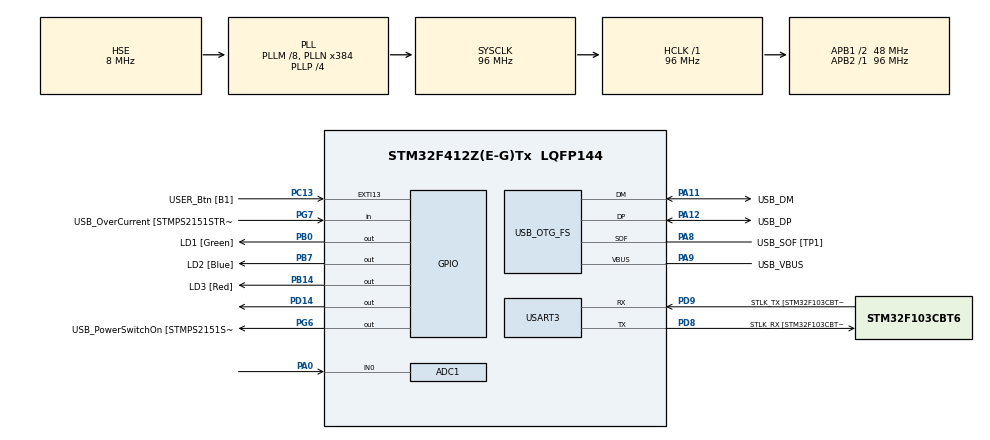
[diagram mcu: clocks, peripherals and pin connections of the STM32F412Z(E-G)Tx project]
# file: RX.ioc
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ADC1.Channel-0\#ChannelRegularConversion=ADC_CHANNEL_0
ADC1.ContinuousConvMode=DISABLE
ADC1.DMAContinuousRequests=ENABLE
ADC1.ExternalTrigConv=ADC_EXTERNALTRIGCONV_T3_TRGO
ADC1.NbrOfConversionFlag=1
ADC1.Rank-0\#ChannelRegularConversion=1
ADC1.SamplingTime-0\#ChannelRegularConversion=ADC_SAMPLETIME_3CYCLES
ADC1.master=1
Dma.ADC1.0.Direction=DMA_PERIPH_TO_MEMORY
Dma.ADC1.0.FIFOMode=DMA_FIFOMODE_DISABLE
Dma.ADC1.0.Instance=DMA2_Stream0
Dma.ADC1.0.MemDataAlignment=DMA_MDATAALIGN_HALFWORD
Dma.ADC1.0.MemInc=DMA_MINC_ENABLE
Dma.ADC1.0.Mode=DMA_CIRCULAR
Dma.ADC1.0.PeriphDataAlignment=DMA_PDATAALIGN_HALFWORD
Dma.ADC1.0.PeriphInc=DMA_PINC_DISABLE
Dma.ADC1.0.Priority=DMA_PRIORITY_LOW
Dma.Request0=ADC1
Mcu.Family=STM32F4
Mcu.Name=STM32F412Z(E-G)Tx
Mcu.Package=LQFP144
NVIC.DMA2_Stream0_IRQn=true\:0\:0\:false\:false\:true\:false\:true\:true
NVIC.PriorityGroup=NVIC_PRIORITYGROUP_4
PA0.Signal=ADCx_IN0
PA10.GPIO_Label=USB_ID
PA10.Signal=USB_OTG_FS_ID
PA11.GPIO_Label=USB_DM
PA11.Mode=Device_Only
PA11.Signal=USB_OTG_FS_DM
PA12.GPIO_Label=USB_DP
PA12.Mode=Device_Only
PA12.Signal=USB_OTG_FS_DP
PA13.GPIO_Label=TMS
PA13.Mode=Serial_Wire
PA13.Signal=SYS_JTMS-SWDIO
PA14.GPIO_Label=TCK
PA14.Mode=Serial_Wire
PA14.Signal=SYS_JTCK-SWCLK
PA8.GPIO_Label=USB_SOF [TP1]
PA8.Mode=Activate_SOF_FS
PA8.Signal=USB_OTG_FS_SOF
PA9.GPIO_Label=USB_VBUS
PA9.Mode=Activate_VBUS
PA9.Signal=USB_OTG_FS_VBUS
PB0.GPIO_Label=LD1 [Green]
PB0.Signal=GPIO_Output
PB14.GPIO_Label=LD3 [Red]
PB14.Signal=GPIO_Output
PB3.GPIO_Label=SWO
PB3.Signal=SYS_JTDO-SWO
PB7.GPIO_Label=LD2 [Blue]
PB7.Signal=GPIO_Output
PC13.GPIO_Label=USER_Btn [B1]
PC13.Signal=GPXTI13
PC14-OSC32_IN.Mode=LSE-External-Oscillator
PC14-OSC32_IN.Signal=RCC_OSC32_IN
PC15-OSC32_OUT.Mode=LSE-External-Oscillator
PC15-OSC32_OUT.Signal=RCC_OSC32_OUT
PD14.Signal=GPIO_Output
PD8.GPIO_Label=STLK_RX [STM32F103CBT6_PA3]
PD8.Mode=Asynchronous
PD8.Signal=USART3_TX
PD9.GPIO_Label=STLK_TX [STM32F103CBT6_PA2]
PD9.Mode=Asynchronous
PD9.Signal=USART3_RX
PG6.GPIO_Label=USB_PowerSwitchOn [STMPS2151STR_EN]
PG6.Signal=GPIO_Output
PG7.GPIO_Label=USB_OverCurrent [STMPS2151STR_FAULT]
PG7.Signal=GPIO_Input
PH0\ -\ OSC_IN.GPIO_Label=MCO
PH0\ -\ OSC_IN.Mode=HSE-External-Clock-Source
PH0\ -\ OSC_IN.Signal=RCC_OSC_IN
PH1\ -\ OSC_OUT.Mode=HSE-External-Clock-Source
PH1\ -\ OSC_OUT.Signal=RCC_OSC_OUT
ProjectManager.HeapSize=0x200
ProjectManager.StackSize=0x400
ProjectManager.TargetToolchain=CMake
RCC.48MHZClocksFreq_Value=24000000
RCC.AHBFreq_Value=96000000
RCC.APB1CLKDivider=RCC_HCLK_DIV2
RCC.APB1Freq_Value=48000000
RCC.APB1TimFreq_Value=96000000
RCC.APB2Freq_Value=96000000
RCC.APB2TimFreq_Value=96000000
RCC.CortexFreq_Value=96000000
RCC.HCLKFreq_Value=96000000
RCC.HSE_VALUE=8000000
RCC.HSI_VALUE=16000000
RCC.PLLM=8
RCC.PLLMUL=RCC_PLL_MUL9
RCC.PLLN=384
RCC.PLLP=RCC_PLLP_DIV4
RCC.PLLQ=8
RCC.PRESCALERUSB=RCC_USBCLKSOURCE_PLL_DIV1_5
RCC.SYSCLKFreq_VALUE=96000000
RCC.SYSCLKSource=RCC_SYSCLKSOURCE_PLLCLK
RCC.SYSCLKSourceVirtual=RCC_SYSCLKSOURCE_PLLCLK
RCC.USBFreq_Value=48000000
RCC.VCOOutputFreq_Value=384000000
SH.ADCx_IN0.0=ADC1_IN0,IN0
TIM3.Period=7499
TIM3.TIM_MasterOutputTrigger=TIM_TRGO_UPDATE
USART3.VirtualMode=VM_ASYNC
USB_OTG_FS.VirtualMode=Device_Only
VP_TIM3_VS_ClockSourceINT.Mode=Internal
board=NUCLEO-F412ZG

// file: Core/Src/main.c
/* USER CODE BEGIN Header */
/**
  ******************************************************************************
  * @file           : main.c
  * @brief          : Main program body
  ******************************************************************************
  * @attention
  *
  * Copyright (c) 2026 STMicroelectronics.
  * All rights reserved.
  *
  * This software is licensed under terms that can be found in the LICENSE file
  * in the root directory of this software component.
  * If no LICENSE file comes with this software, it is provided AS-IS.
  *
  ******************************************************************************
  */
/* USER CODE END Header */
#include "main.h"

/* USER CODE BEGIN Includes */
#include <stdio.h>
#include <string.h>
#include "lifi_hw.h"
#include "lifi_dsp.h"
#include "lifi_dpll.h"
#include "lifi_mac.h"
#include "lifi_diag.h"
/* USER CODE END Includes */

ADC_HandleTypeDef hadc1;
DMA_HandleTypeDef hdma_adc1;

TIM_HandleTypeDef htim3;

UART_HandleTypeDef huart3;

PCD_HandleTypeDef hpcd_USB_OTG_FS;

void SystemClock_Config(void);
static void MX_GPIO_Init(void);
static void MX_DMA_Init(void);
static void MX_ADC1_Init(void);
static void MX_TIM3_Init(void);
static void MX_USART3_UART_Init(void);
static void MX_USB_OTG_FS_PCD_Init(void);

int main(void)
{
  /* MCU Configuration--------------------------------------------------------*/

  /* Reset of all peripherals, Initializes the Flash interface and the Systick. */
  HAL_Init();

  /* Configure the system clock */
  SystemClock_Config();

  /* Initialize all configured peripherals */
  MX_GPIO_Init();
  MX_DMA_Init();
  MX_ADC1_Init();
  MX_TIM3_Init();
  MX_USART3_UART_Init();
  MX_USB_OTG_FS_PCD_Init();

  /* USER CODE BEGIN 2 */
  extern UART_HandleTypeDef huart3;

  // 1. INITIALIZE ALL LIFI LAYERS (THIS WAS MISSING!)
  LiFi_DSP_Init();
  LiFi_DPLL_Init();
  LiFi_MAC_Init();
  LiFi_HW_Init(); // This turns on the ADC and Timer!

  HAL_UART_Transmit(&huart3, (uint8_t*)"\r\n[RX BOOT] LiFi modem online. Listening for framed packets...\r\n", 67, 100);
  /* USER CODE END 2 */

  /* Infinite loop */
  /* USER CODE BEGIN WHILE */

  uint32_t lastRxTick = 0;
  uint32_t burstBytes = 0;
  float sumAmp = 0.0f;
  float sumPhase = 0.0f;
  uint32_t packetCount = 0;
  uint8_t receivingMessage = 0; // Tracks if a sentence is currently in progress

  const LIFI_DIAG* diag = LiFi_Diag_Get();

  while (1)
  {
      // 1. IF A CHUNK ARRIVES: Print it on the SAME line and record the physics
      if (macPayloadReady == 1) {
          char statusLine[128];
          snprintf(statusLine, sizeof(statusLine), "\r\n[RX STAT] lock=%u sync=%u seq=%u ok=%lu fail=%lu dup=%lu ooo=%lu amp=%d noise=%d phase=%.1f crc=%lu inv=%lu len=%lu\r\n",
                   diag->lastLockState,
                   macSyncFound,
                   macPacketSequence,
                   (unsigned long)diag->packetsGood,
                   (unsigned long)diag->packetsBad,
                   (unsigned long)diag->duplicatePackets,
                   (unsigned long)diag->outOfOrderPackets,
                   (int)diag->lastAmplitude,
                   (int)diag->lastNoise,
                   diag->lastPhaseError,
                   (unsigned long)diag->crcErrors,
                   (unsigned long)diag->invalidTransitionCount,
                   (unsigned long)diag->lastPacketLength);
          HAL_UART_Transmit(&huart3, (uint8_t*)statusLine, strlen(statusLine), 100);
          HAL_UART_Transmit(&huart3, (uint8_t*)macPayloadBuffer, macExpectedLength, 100);

          burstBytes += macExpectedLength;
          sumAmp += signalAmplitude;

          // Use absolute value for phase drift so negative drift doesn't cancel positive drift
          if (pllPhaseError < 0) sumPhase -= pllPhaseError;
          else sumPhase += pllPhaseError;

          packetCount++;

          lastRxTick = HAL_GetTick(); // Reset the silence timer
          receivingMessage = 1;       // Flag that we are in the middle of a sentence
          macPayloadReady = 0;
      }

      // 2. IF 2.5 SECONDS PASS WITH NO NEW DATA: Print the Telemetry Summary
      if (receivingMessage == 1 && (HAL_GetTick() - lastRxTick > 2500)) {

          char rxDash[256];

          // Notice we use %d (Integer) and cast the floats (int) to bypass the STM32 Bug!
          sprintf(rxDash,
              "\r\n-------------------------------------------------\r\n"
              "[LINK METRICS] Payload: %lu Bytes | Avg Amp: %d | Avg Phase Drift: %d | Ok: %lu | Fail: %lu | Lock Events: %lu\r\n"
              "-------------------------------------------------\r\n> ",
              burstBytes,
              (int)(sumAmp / packetCount),
              (int)(sumPhase / packetCount),
              (unsigned long)diag->packetsGood,
              (unsigned long)diag->packetsBad,
              (unsigned long)diag->pllLockEvents
          );

          HAL_UART_Transmit(&huart3, (uint8_t*)rxDash, strlen(rxDash), 100);

          // Reset the trackers for the next sentence
          burstBytes = 0;
          sumAmp = 0.0f;
          sumPhase = 0.0f;
          packetCount = 0;
          receivingMessage = 0;
      }

      HAL_Delay(2);
    /* USER CODE END WHILE */
  }

}

void SystemClock_Config(void)
{
  RCC_OscInitTypeDef RCC_OscInitStruct = {0};
  RCC_ClkInitTypeDef RCC_ClkInitStruct = {0};

  /** Configure the main internal regulator output voltage
  */
  __HAL_RCC_PWR_CLK_ENABLE();
  __HAL_PWR_VOLTAGESCALING_CONFIG(PWR_REGULATOR_VOLTAGE_SCALE1);

  /** Initializes the RCC Oscillators according to the specified parameters
  * in the RCC_OscInitTypeDef structure.
  */
  RCC_OscInitStruct.OscillatorType = RCC_OSCILLATORTYPE_HSE;
  RCC_OscInitStruct.HSEState = RCC_HSE_BYPASS;
  RCC_OscInitStruct.PLL.PLLState = RCC_PLL_ON;
  RCC_OscInitStruct.PLL.PLLSource = RCC_PLLSOURCE_HSE;
  RCC_OscInitStruct.PLL.PLLM = 8;
  RCC_OscInitStruct.PLL.PLLN = 384;
  RCC_OscInitStruct.PLL.PLLP = RCC_PLLP_DIV4;
  RCC_OscInitStruct.PLL.PLLQ = 8;
  RCC_OscInitStruct.PLL.PLLR = 2;
  if (HAL_RCC_OscConfig(&RCC_OscInitStruct) != HAL_OK)
  {
    Error_Handler();
  }

  /** Initializes the CPU, AHB and APB buses clocks
  */
  RCC_ClkInitStruct.ClockType = RCC_CLOCKTYPE_HCLK|RCC_CLOCKTYPE_SYSCLK
                              |RCC_CLOCKTYPE_PCLK1|RCC_CLOCKTYPE_PCLK2;
  RCC_ClkInitStruct.SYSCLKSource = RCC_SYSCLKSOURCE_PLLCLK;
  RCC_ClkInitStruct.AHBCLKDivider = RCC_SYSCLK_DIV1;
  RCC_ClkInitStruct.APB1CLKDivider = RCC_HCLK_DIV2;
  RCC_ClkInitStruct.APB2CLKDivider = RCC_HCLK_DIV1;

  if (HAL_RCC_ClockConfig(&RCC_ClkInitStruct, FLASH_LATENCY_3) != HAL_OK)
  {
    Error_Handler();
  }
}

static void MX_ADC1_Init(void)
{
  ADC_ChannelConfTypeDef sConfig = {0};

  /** Configure the global features of the ADC (Clock, Resolution, Data Alignment and number of conversion)
  */
  hadc1.Instance = ADC1;
  hadc1.Init.ClockPrescaler = ADC_CLOCK_SYNC_PCLK_DIV4;
  hadc1.Init.Resolution = ADC_RESOLUTION_12B;
  hadc1.Init.ScanConvMode = DISABLE;
  hadc1.Init.ContinuousConvMode = DISABLE;
  hadc1.Init.DiscontinuousConvMode = DISABLE;
  hadc1.Init.ExternalTrigConvEdge = ADC_EXTERNALTRIGCONVEDGE_RISING;
  hadc1.Init.ExternalTrigConv = ADC_EXTERNALTRIGCONV_T3_TRGO;
  hadc1.Init.DataAlign = ADC_DATAALIGN_RIGHT;
  hadc1.Init.NbrOfConversion = 1;
  hadc1.Init.DMAContinuousRequests = ENABLE;
  hadc1.Init.EOCSelection = ADC_EOC_SINGLE_CONV;
  if (HAL_ADC_Init(&hadc1) != HAL_OK)
  {
    Error_Handler();
  }

  /** Configure for the selected ADC regular channel its corresponding rank in the sequencer and its sample time.
  */
  sConfig.Channel = ADC_CHANNEL_0;
  sConfig.Rank = 1;
  sConfig.SamplingTime = ADC_SAMPLETIME_3CYCLES;
  if (HAL_ADC_ConfigChannel(&hadc1, &sConfig) != HAL_OK)
  {
    Error_Handler();
  }
}

static void MX_TIM3_Init(void)
{
  TIM_ClockConfigTypeDef sClockSourceConfig = {0};
  TIM_MasterConfigTypeDef sMasterConfig = {0};

  htim3.Instance = TIM3;
  htim3.Init.Prescaler = 0;
  htim3.Init.CounterMode = TIM_COUNTERMODE_UP;
  htim3.Init.Period = 7499;
  htim3.Init.ClockDivision = TIM_CLOCKDIVISION_DIV1;
  htim3.Init.AutoReloadPreload = TIM_AUTORELOAD_PRELOAD_DISABLE;
  if (HAL_TIM_Base_Init(&htim3) != HAL_OK)
  {
    Error_Handler();
  }
  sClockSourceConfig.ClockSource = TIM_CLOCKSOURCE_INTERNAL;
  if (HAL_TIM_ConfigClockSource(&htim3, &sClockSourceConfig) != HAL_OK)
  {
    Error_Handler();
  }
  sMasterConfig.MasterOutputTrigger = TIM_TRGO_UPDATE;
  sMasterConfig.MasterSlaveMode = TIM_MASTERSLAVEMODE_DISABLE;
  if (HAL_TIMEx_MasterConfigSynchronization(&htim3, &sMasterConfig) != HAL_OK)
  {
    Error_Handler();
  }
}

static void MX_USART3_UART_Init(void)
{
  huart3.Instance = USART3;
  huart3.Init.BaudRate = 115200;
  huart3.Init.WordLength = UART_WORDLENGTH_8B;
  huart3.Init.StopBits = UART_STOPBITS_1;
  huart3.Init.Parity = UART_PARITY_NONE;
  huart3.Init.Mode = UART_MODE_TX_RX;
  huart3.Init.HwFlowCtl = UART_HWCONTROL_NONE;
  huart3.Init.OverSampling = UART_OVERSAMPLING_16;
  if (HAL_UART_Init(&huart3) != HAL_OK)
  {
    Error_Handler();
  }
}

static void MX_USB_OTG_FS_PCD_Init(void)
{
  hpcd_USB_OTG_FS.Instance = USB_OTG_FS;
  hpcd_USB_OTG_FS.Init.dev_endpoints = 6;
  hpcd_USB_OTG_FS.Init.speed = PCD_SPEED_FULL;
  hpcd_USB_OTG_FS.Init.dma_enable = DISABLE;
  hpcd_USB_OTG_FS.Init.phy_itface = PCD_PHY_EMBEDDED;
  hpcd_USB_OTG_FS.Init.Sof_enable = ENABLE;
  hpcd_USB_OTG_FS.Init.low_power_enable = DISABLE;
  hpcd_USB_OTG_FS.Init.lpm_enable = DISABLE;
  hpcd_USB_OTG_FS.Init.battery_charging_enable = ENABLE;
  hpcd_USB_OTG_FS.Init.vbus_sensing_enable = ENABLE;
  hpcd_USB_OTG_FS.Init.use_dedicated_ep1 = DISABLE;
  if (HAL_PCD_Init(&hpcd_USB_OTG_FS) != HAL_OK)
  {
    Error_Handler();
  }
}

static void MX_DMA_Init(void)
{
  /* DMA controller clock enable */
  __HAL_RCC_DMA2_CLK_ENABLE();

  /* DMA interrupt init */
  /* DMA2_Stream0_IRQn interrupt configuration */
  HAL_NVIC_SetPriority(DMA2_Stream0_IRQn, 0, 0);
  HAL_NVIC_EnableIRQ(DMA2_Stream0_IRQn);
}

static void MX_GPIO_Init(void)
{
  GPIO_InitTypeDef GPIO_InitStruct = {0};

  /* GPIO Ports Clock Enable */
  __HAL_RCC_GPIOC_CLK_ENABLE();
  __HAL_RCC_GPIOH_CLK_ENABLE();
  __HAL_RCC_GPIOA_CLK_ENABLE();
  __HAL_RCC_GPIOB_CLK_ENABLE();
  __HAL_RCC_GPIOD_CLK_ENABLE();
  __HAL_RCC_GPIOG_CLK_ENABLE();

  /*Configure GPIO pin Output Level */
  HAL_GPIO_WritePin(GPIOB, LD1_Pin|LD3_Pin|LD2_Pin, GPIO_PIN_RESET);

  /*Configure GPIO pin Output Level */
  HAL_GPIO_WritePin(GPIOD, GPIO_PIN_14, GPIO_PIN_RESET);

  /*Configure GPIO pin Output Level */
  HAL_GPIO_WritePin(USB_PowerSwitchOn_GPIO_Port, USB_PowerSwitchOn_Pin, GPIO_PIN_RESET);

  /*Configure GPIO pin : USER_Btn_Pin */
  GPIO_InitStruct.Pin = USER_Btn_Pin;
  GPIO_InitStruct.Mode = GPIO_MODE_IT_RISING;
  GPIO_InitStruct.Pull = GPIO_NOPULL;
  HAL_GPIO_Init(USER_Btn_GPIO_Port, &GPIO_InitStruct);

  /*Configure GPIO pins : LD1_Pin LD3_Pin LD2_Pin */
  GPIO_InitStruct.Pin = LD1_Pin|LD3_Pin|LD2_Pin;
  GPIO_InitStruct.Mode = GPIO_MODE_OUTPUT_PP;
  GPIO_InitStruct.Pull = GPIO_NOPULL;
  GPIO_InitStruct.Speed = GPIO_SPEED_FREQ_LOW;
  HAL_GPIO_Init(GPIOB, &GPIO_InitStruct);

  /*Configure GPIO pin : PD14 */
  GPIO_InitStruct.Pin = GPIO_PIN_14;
  GPIO_InitStruct.Mode = GPIO_MODE_OUTPUT_PP;
  GPIO_InitStruct.Pull = GPIO_NOPULL;
  GPIO_InitStruct.Speed = GPIO_SPEED_FREQ_LOW;
  HAL_GPIO_Init(GPIOD, &GPIO_InitStruct);

  /*Configure GPIO pin : USB_PowerSwitchOn_Pin */
  GPIO_InitStruct.Pin = USB_PowerSwitchOn_Pin;
  GPIO_InitStruct.Mode = GPIO_MODE_OUTPUT_PP;
  GPIO_InitStruct.Pull = GPIO_NOPULL;
  GPIO_InitStruct.Speed = GPIO_SPEED_FREQ_LOW;
  HAL_GPIO_Init(USB_PowerSwitchOn_GPIO_Port, &GPIO_InitStruct);

  /*Configure GPIO pin : USB_OverCurrent_Pin */
  GPIO_InitStruct.Pin = USB_OverCurrent_Pin;
  GPIO_InitStruct.Mode = GPIO_MODE_INPUT;
  GPIO_InitStruct.Pull = GPIO_NOPULL;
  HAL_GPIO_Init(USB_OverCurrent_GPIO_Port, &GPIO_InitStruct);
}

void Error_Handler(void)
{
  __disable_irq();
  while (1)
  {
  }
}
